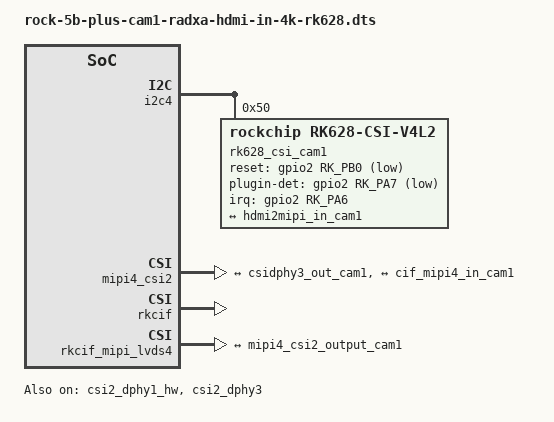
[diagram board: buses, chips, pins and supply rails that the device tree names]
/dts-v1/;
/plugin/;

#include <dt-bindings/gpio/gpio.h>
#include <dt-bindings/interrupt-controller/irq.h>
#include <dt-bindings/pinctrl/rockchip.h>
#include <dt-bindings/power/rk3588-power.h>

/ {
	metadata {
		title = "Enable Radxa 4K HDMI IN to MIPI CSI-2 Adapter on CAM1";
		compatible = "radxa,rock-5b-plus";
		category = "camera";
		exclusive = "csi2_dphy1", "GPIO2_A6", "GPIO2_B0", "GPIO2_A7";
		description = "Enable Radxa 4K HDMI IN to MIPI CSI-2 Adapter on CAM1.
To capture audio, also enable the 'I2S2-M1 capture-only dummy sound card' overlay.";
	};
};

&i2c4 {
	pinctrl-names = "default";
	pinctrl-0 = <&i2c4m1_xfer>;
	status = "okay";
	#address-cells = <1>;
	#size-cells = <0>;

	rk628_csi_cam1: rk628-csi@50 {
		compatible = "rockchip,rk628-csi-v4l2";
		reg = <0x50>;
		power-domains = <&power RK3588_PD_VI>;
		pinctrl-names = "default";
		pinctrl-0 = <&rk628_cam1_pin>;
		interrupt-parent = <&gpio2>;
		interrupts = <RK_PA6 IRQ_TYPE_LEVEL_HIGH>;
		reset-gpios = <&gpio2 RK_PB0 GPIO_ACTIVE_LOW>;
		plugin-det-gpios = <&gpio2 RK_PA7 GPIO_ACTIVE_LOW>;
		continues-clk = <1>;

		rockchip,camera-module-index = <1>;
		rockchip,camera-module-facing = "back";
		rockchip,camera-module-name = "HDMI-MIPI2";
		rockchip,camera-module-lens-name = "RK628-CSI";

		port {
			hdmiin_out_cam1: endpoint {
				remote-endpoint = <&hdmi2mipi_in_cam1>;
				data-lanes = <1 2 3 4>;
			};
		};
	};
};

&csi2_dphy1_hw {
	status = "okay";
};

&csi2_dphy3 {
	status = "okay";

	ports {
		#address-cells = <1>;
		#size-cells = <0>;

		port@0 {
			reg = <0>;
			#address-cells = <1>;
			#size-cells = <0>;

			hdmi2mipi_in_cam1: endpoint@1 {
				reg = <1>;
				remote-endpoint = <&hdmiin_out_cam1>;
				data-lanes = <1 2 3 4>;
			};
		};

		port@1 {
			reg = <1>;

			csidphy3_out_cam1: endpoint {
				remote-endpoint = <&mipi4_csi2_input_cam1>;
			};
		};
	};
};

&mipi4_csi2 {
	status = "okay";

	ports {
		#address-cells = <1>;
		#size-cells = <0>;

		port@0 {
			reg = <0>;
			#address-cells = <1>;
			#size-cells = <0>;

			mipi4_csi2_input_cam1: endpoint@1 {
				reg = <1>;
				remote-endpoint = <&csidphy3_out_cam1>;
			};
		};

		port@1 {
			reg = <1>;

			mipi4_csi2_output_cam1: endpoint {
				remote-endpoint = <&cif_mipi4_in_cam1>;
			};
		};
	};
};

&rkcif {
	status = "okay";
};

&rkcif_mipi_lvds4 {
	status = "okay";

	port {
		cif_mipi4_in_cam1: endpoint {
			remote-endpoint = <&mipi4_csi2_output_cam1>;
		};
	};
};

&rkcif_mmu {
	status = "okay";
};

&pinctrl {
	hdmiin {
		rk628_cam1_pin: rk628-cam1-pin {
			rockchip,pins =
				<2 RK_PA6 RK_FUNC_GPIO &pcfg_pull_none>,
				<2 RK_PB0 RK_FUNC_GPIO &pcfg_pull_none>,
				<2 RK_PA7 RK_FUNC_GPIO &pcfg_pull_none>;
		};
	};
};
